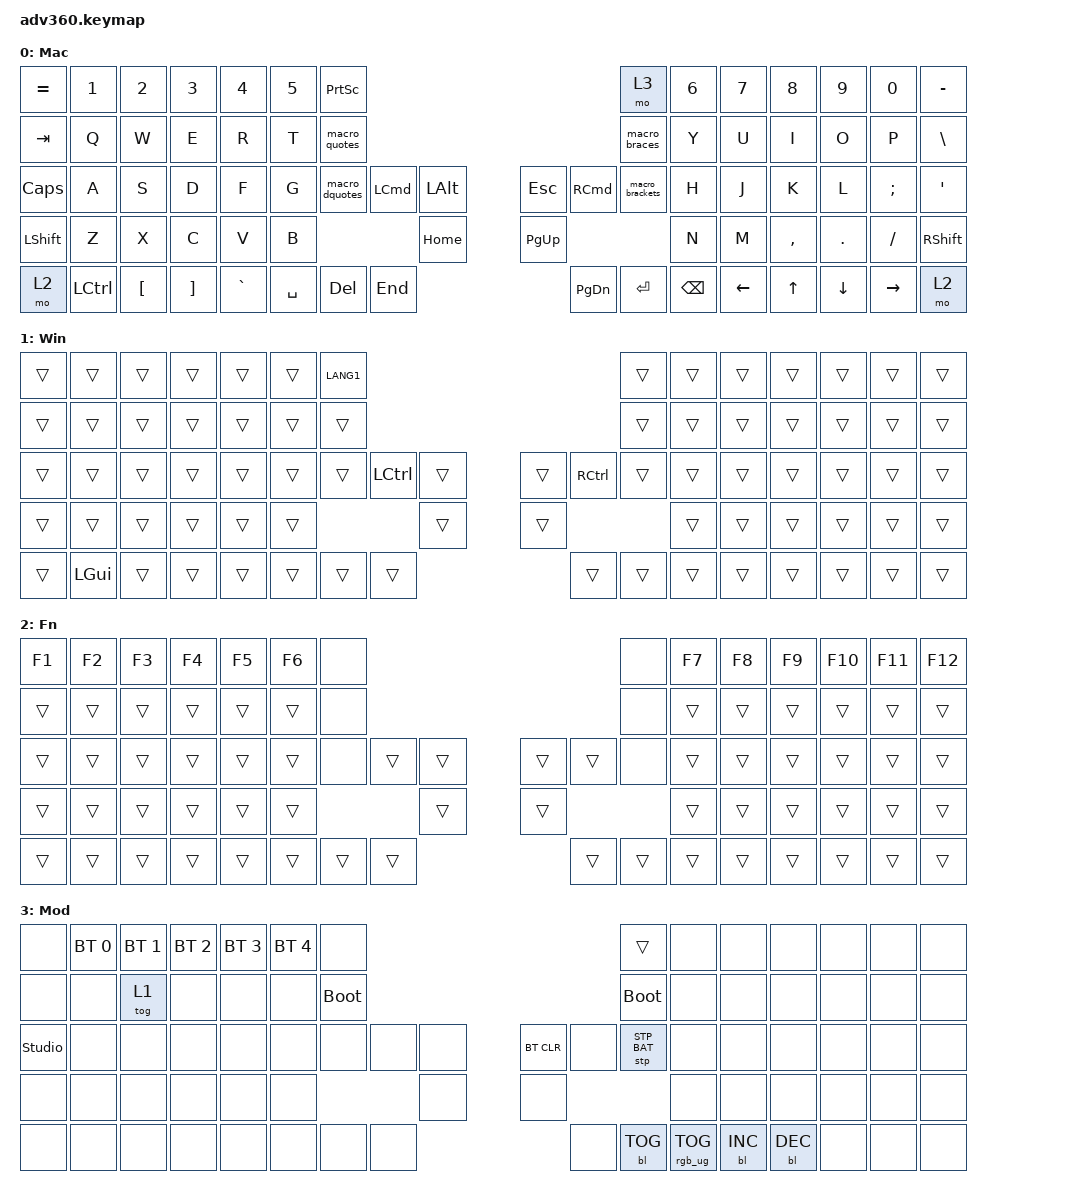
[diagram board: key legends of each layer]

/*
 * Copyright (c) 2020 The ZMK Contributors
 *
 * SPDX-License-Identifier: MIT
 */


/* THIS FILE WAS GENERATED!
 *
 * This file was generated automatically. You may or may not want to
 * edit it directly.
 */

#include <behaviors.dtsi>
#include <dt-bindings/zmk/keys.h>
#include <dt-bindings/zmk/bt.h>
#include <dt-bindings/zmk/rgb.h>
#include <dt-bindings/zmk/stp.h>
#include <dt-bindings/zmk/backlight.h>
#include <dt-bindings/zmk/pointing.h>

/ {
  behaviors {
    #include "macros.dtsi"
    #include "version.dtsi"

    hm: homerow_mods {
        compatible = "zmk,behavior-hold-tap";
        label = "HOMEROW_MODS";
        #binding-cells = <2>;
        tapping-term-ms = <200>;
        quick_tap_ms = <175>;
        flavor = "tap-preferred";
        bindings = <&kp>, <&kp>;
    };
  };

    keymap {
        compatible = "zmk,keymap";


        default_layer {
            display-name = "Mac";
            bindings = <
 &kp EQUAL     &kp N1    &kp N2    &kp N3     &kp N4  &kp N5                 &kp PSCRN                                                                                      &mo 3  &kp N6    &kp N7     &kp N8    &kp N9     &kp N0  &kp MINUS
   &kp TAB      &kp Q     &kp W     &kp E      &kp R   &kp T             &macro_quotes                                                                              &macro_braces   &kp Y     &kp U      &kp I     &kp O      &kp P   &kp BSLH
  &kp CAPS      &kp A     &kp S     &kp D      &kp F   &kp G            &macro_dquotes  &kp LEFT_COMMAND  &kp LALT                    &kp ESC  &kp RIGHT_COMMAND  &macro_brackets   &kp H     &kp J      &kp K     &kp L   &kp SEMI    &kp SQT
 &kp LSHFT      &kp Z     &kp X     &kp C      &kp V   &kp B                                              &kp HOME                  &kp PG_UP                                       &kp N     &kp M  &kp COMMA   &kp DOT   &kp FSLH  &kp RSHFT
     &mo 2  &kp LCTRL  &kp LBKT  &kp RBKT  &kp GRAVE                         &kp SPACE           &kp DEL   &kp END                  &kp PG_DN          &kp ENTER    &kp BACKSPACE          &kp LEFT     &kp UP  &kp DOWN  &kp RIGHT      &mo 2
            >;
        };

        layer_win {
            display-name = "Win";
            bindings = <
 &trans     &trans    &trans    &trans     &trans  &trans                 &kp LANG1                                                                                     &trans  &trans    &trans     &trans    &trans     &trans     &trans
 &trans     &trans    &trans    &trans     &trans  &trans                    &trans                                                                                     &trans  &trans    &trans     &trans    &trans     &trans     &trans
 &trans     &trans    &trans    &trans     &trans  &trans                    &trans     &kp LCTRL     &trans                     &trans     &kp RCTRL                   &trans  &trans    &trans     &trans    &trans     &trans     &trans
 &trans     &trans    &trans    &trans     &trans  &trans                                             &trans                     &trans                                         &trans    &trans     &trans    &trans     &trans     &trans
 &trans  &kp LGUI     &trans    &trans     &trans                            &trans     &trans        &trans                     &trans     &trans        &trans                      &trans    &trans     &trans    &trans     &trans
            >;
        };

        layer_fn {
            display-name = "Fn";
            bindings = <
 &kp F1  &kp F2  &kp F3  &kp F4  &kp F5  &kp F6             &none                                                   &none  &kp F7  &kp F8  &kp F9  &kp F10  &kp F11  &kp F12
 &trans  &trans  &trans  &trans  &trans  &trans             &none                                                   &none  &trans  &trans  &trans   &trans   &trans   &trans
 &trans  &trans  &trans  &trans  &trans  &trans             &none  &trans  &trans                  &trans  &trans   &none  &trans  &trans  &trans   &trans   &trans   &trans
 &trans  &trans  &trans  &trans  &trans  &trans                            &trans                  &trans                  &trans  &trans  &trans   &trans   &trans   &trans
 &trans  &trans  &trans  &trans  &trans                    &trans  &trans  &trans                  &trans  &trans  &trans          &trans  &trans   &trans   &trans   &trans
            >;
        };

        layer_mod {
            display-name = "Mod";
            bindings = <
  &none  &bt BT_SEL 0  &bt BT_SEL 1  &bt BT_SEL 2  &bt BT_SEL 3  &bt BT_SEL 4                  &none                                                                          &trans   &none       &none       &none   &none   &none   &none
  &none         &none         &tog 1        &none         &none         &none            &bootloader                                                                     &bootloader   &none       &none       &none   &none   &none   &none
  &studio_unlock  &none       &none         &none         &none         &none                  &none   &none   &none                  &bt BT_CLR       &none  &stp STP_BAT            &none       &none       &none   &none   &none   &none
  &none         &none         &none         &none         &none         &none                                  &none                       &none                                       &none       &none       &none   &none   &none   &none
  &none         &none         &none         &none         &none                                &none   &none   &none                       &none  &bl BL_TOG         &rgb_ug RGB_TOG          &bl BL_INC  &bl BL_DEC   &none   &none   &none
            >;
        };

        extra1 {
            display-name = "Red";
            status = "reserved";
        };

        extra2 {
            display-name = "Purple";
            status = "reserved";
        };

        extra3 {
            display-name = "Cyan";
            status = "reserved";
        };

        extra4 {
            display-name = "Yellow";
            status = "reserved";
        };
    };
};
